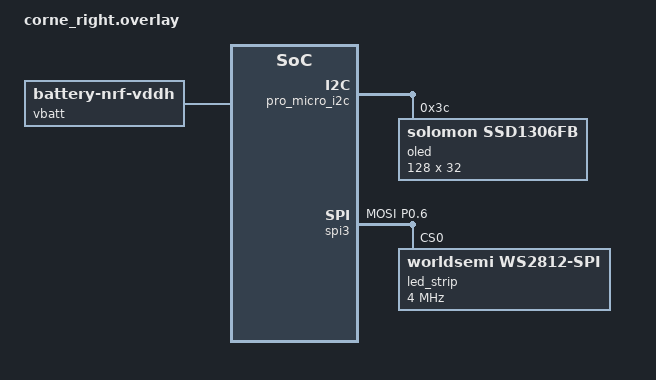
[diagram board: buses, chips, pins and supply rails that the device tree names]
/*
 * Copyright (c) 2020 Pete Johanson
 *
 * SPDX-License-Identifier: MIT
 */
#include <dt-bindings/led/led.h>
#include <dt-bindings/zmk/matrix_transform.h>
&default_transform {
	col-offset = <6>;
};

&kscan0 {
    col-gpios
        = <&pro_micro 14  GPIO_ACTIVE_HIGH>
        , <&pro_micro 15  GPIO_ACTIVE_HIGH>
        , <&pro_micro 18  GPIO_ACTIVE_HIGH>
        , <&pro_micro 19  GPIO_ACTIVE_HIGH>
        , <&pro_micro 20  GPIO_ACTIVE_HIGH>
        , <&pro_micro 21  GPIO_ACTIVE_HIGH>
        ;
};
/ {
    chosen {
      zmk,battery = &vbatt;
      zmk,underglow = &led_strip;
    };

    vbatt: vbatt {
        compatible = "zmk,battery-nrf-vddh";
    };
};
&pro_micro_i2c {
    status = "okay";

    oled: ssd1306@3c {
        compatible = "solomon,ssd1306fb";
        reg = <0x3c>;
        width = <128>;
        height = <32>;
        segment-remap;
        page-remap;
        display-offset = <0>;
        multiplex-ratio = <31>;
        segment-offset = <0>;
        page-offset = <0>;
        prechargep = <0x22>;
    };
};

&pinctrl {
    spi3_default: spi3_default {
        group1 {
            psels = <NRF_PSEL(SPIM_MOSI, 0, 6)>; // Pin P0.06 es el estándar en Corne
        };
    };
    spi3_sleep: spi3_sleep {
        group1 {
            psels = <NRF_PSEL(SPIM_MOSI, 0, 6)>;
            low-power-enable;
        };
    };
};

&spi3 {
    compatible = "nordic,nrf-spim";
    status = "okay";
    pinctrl-0 = <&spi3_default>;
    pinctrl-1 = <&spi3_sleep>;
    pinctrl-names = "default", "sleep";

    led_strip: ws2812@0 {
        compatible = "worldsemi,ws2812-spi";
        reg = <0>;
        spi-max-frequency = <4000000>;
        chain-length = <27>; 
        spi-one-frame = <0x70>;
        spi-zero-frame = <0x40>;
        color-mapping = <LED_COLOR_ID_GREEN LED_COLOR_ID_RED LED_COLOR_ID_BLUE>;
    };
};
